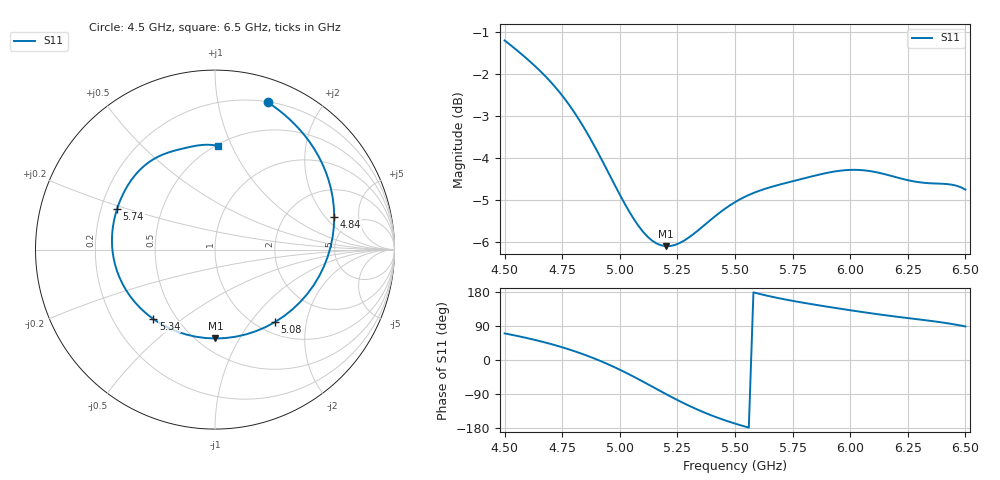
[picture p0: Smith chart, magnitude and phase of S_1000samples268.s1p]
! TOUCHSTONE file generated by CST MICROWAVE STUDIO
! Date and time: Thu Oct 27 14:08:21 2022
! Project name: L.cst
! Parameters = {Di=1.27; Epsilon_r=1.56; InnerDiameter=1.27; Length=2; Lf=10; Lg=60; OuterConductorThickness=0.2921; OuterDiameter=3.6; Wf=3; Wp=41.2; de=1.5; df=6.8; g=0.8; gx=4.91993; gy=0.923082; h=2.34; hf=1.524; px=14.4172; py=10.6572; w=9.7; wx=9.49725; wy=9.73412}
! Header version: 2018
! Port assignment regex: !\s*Touchstone port\s*([0-9]+)\s*=\s*(CST MWS port|CST DS port)\s*([0-9]+|Zmin|Zmax)\s*\(\"(.*)\"\)(\s*mode\s*([0-9]+))?.*
! Touchstone port assignment:
! Touchstone port 1 = CST MWS port 1 ("")
# GHz S DB R 50
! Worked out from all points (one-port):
!   101 points, 4.5 GHz to 6.5 GHz, reference 50 ohm
!   lowest |S11| = -6.1 dB at 5.2 GHz (marker M1), VSWR 2.96, Z = 30.4 - j39.9 ohm
!   |S11| at or under -10 dB: nowhere
!   S11 on the Smith chart (normalised r, x): 4.5 GHz: 0.21, +1.40; 4.84 GHz: 3.59, +2.50; 5.08 GHz: 1.20, -1.33; 5.34 GHz: 0.37, -0.40; 5.74 GHz: 0.27, +0.19; 6.5 GHz: 0.51, +0.89
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4.5  -1.20 70.2
4.58  -1.55 60.2
4.64  -1.85 51.7
4.7  -2.18 42.3
4.76  -2.58 31.7
4.8  -2.89 23.9
4.84  -3.24 15.4
4.88  -3.62 6.2
4.92  -4.03 -3.7
4.96  -4.45 -14.3
5  -4.87 -25.6
5.04  -5.27 -37.7
5.08  -5.61 -50.3
5.14  -5.97 -70.0
5.2  -6.10 -89.8
5.26  -6.03 -108.7
5.34  -5.73 -131.6
5.42  -5.36 -151.2
5.5  -5.05 -167.8
5.6  -4.79 175.4
5.74  -4.57 157.2
5.76  -4.54 155.0
5.88  -4.38 142.7
6  -4.28 131.4
6.12  -4.35 120.8
6.26  -4.54 109.9
6.4  -4.61 98.9
6.5  -4.75 88.6
